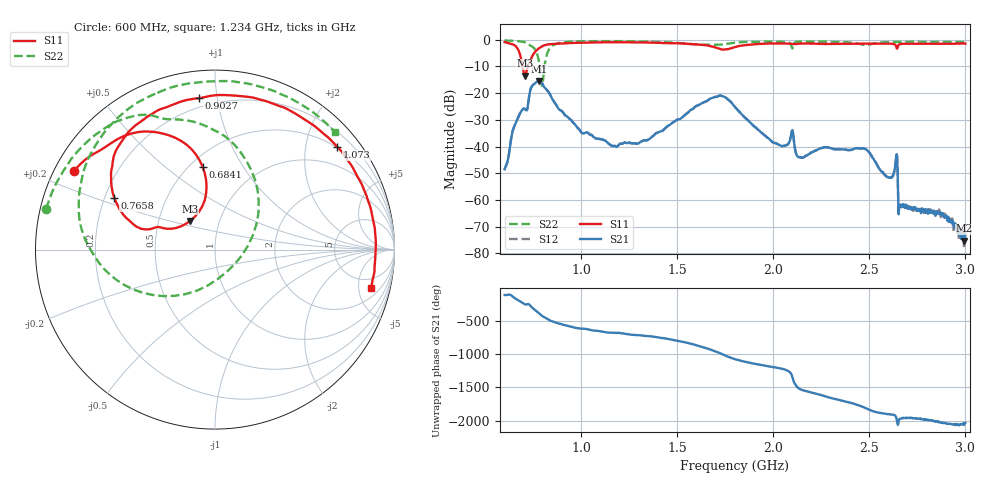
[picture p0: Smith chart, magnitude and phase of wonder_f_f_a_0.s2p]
#  HZ  S  RI  R  50.00
! Rohde & Schwarz ZVB8 2Ports - Version 2.81 - 1145.1010k08 SN: 100113
! Date: 2016-05-12 03:16:54
! Measurements: S11 S21 S12 S22
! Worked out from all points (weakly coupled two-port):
!   1000 points, 600 MHz to 3 GHz, reference 50 ohm
!   highest |S21| = -15.45 dB at 777.8 MHz (marker M1); lowest = -75.2 dB at 2.995 GHz (marker M2)
!   lowest |S11| = -13.5 dB at 705.7 MHz (marker M3), VSWR 1.54, Z = 36 + j12 ohm
!   |S11| at or under -10 dB: 693.9 MHz to 720.5 MHz (26.61 MHz wide, 3.76 % of centre)
!   |S22| runs from -17.3 to -0.3 dB; largest |S21 - S12| = 0.0015
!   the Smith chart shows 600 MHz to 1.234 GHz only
!   S11 on the Smith chart (normalised r, x): 600 MHz: 0.06, +0.26; 684.1 MHz: 0.58, +0.68; 765.8 MHz: 0.24, +0.23; 902.7 MHz: 0.15, +0.89; 1.073 GHz: 0.49, +2.67; 1.234 GHz: 3.21, -6.84
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6e8  -0.7865 0.4378  -0.00118 -0.00355  -0.00123 -0.00355  -0.9404 0.2269
6.840841e8  -0.0688 0.4621  -0.0383 0.0222  -0.0384 0.022  -0.6797 0.6296
7.057057e8  -0.1404 0.1588  -0.0189 0.0465  -0.0186 0.0466  -0.5316 0.72
7.657658e8  -0.5606 0.2875  0.159 0.0269  0.1586 0.0268  0.1217 0.5695
7.777778e8  -0.5778 0.3675  0.1591 -0.0566  0.1596 -0.0572  0.2371 0.3322
8.138138e8  -0.5158 0.6077  -0.00713 -0.1218  -0.00747 -0.1218  -0.3465 -0.2528
8.45045e8  -0.377 0.7402  -0.0637 -0.0505  -0.0636 -0.0503  -0.7448 0.1188
9.027027e8  -0.0919 0.8434  -0.0431 0.0102  -0.0431 0.0101  -0.6516 0.6015
1.001201e9  0.3899 0.7892  -0.00481 0.0173  -0.00484 0.0173  -0.2417 0.9041
1.073273e9  0.6815 0.5723  0.00381 0.0136  0.00377 0.0136  0.0769 0.94
1.234234e9  0.8695 -0.2122  0.0106 0.00479  0.0106 0.00479  0.6695 0.6532
1.4e9  0.3445 -0.8045  0.0164 -0.00829  0.0164 -0.00828  0.9093 0.0506
1.683483e9  -0.6398 -0.3722  -0.0608 0.0542  -0.0608 0.054  0.4577 -0.6572
1.801201e9  -0.7028 -0.1969  0.054 0.00473  0.0541 0.00473  0.238 -0.8477
1.976577e9  -0.7232 0.4399  -0.00333 -0.0136  -0.00333 -0.0136  -0.3063 -0.8641
2.2e9  0.021 0.8449  -0.00588 -0.00517  -0.00579 -0.0052  -0.7591 -0.5285
2.476276e9  0.8297 0.1496  0.00906 -0.00084  0.009 -0.000968  -0.7948 0.0608
2.601201e9  0.747 -0.3888  -0.000604 -0.00253  -0.000592 -0.00256  -0.8582 0.2806
2.634835e9  0.6119 -0.5215  -0.00262 -0.00364  -0.00262 -0.00363  -0.8385 0.3571
2.663664e9  0.6281 -0.5474  -0.000782 -0.000161  -0.000811 -0.000121  -0.8097 0.4163
2.995195e9  -0.5443 -0.6482  -9.12e-05 0.000147  -0.000128 0.000161  -0.1966 0.882
3e9  -0.5536 -0.6383  -0.000148 0.000193  -0.000129 0.000159  -0.1826 0.8847
